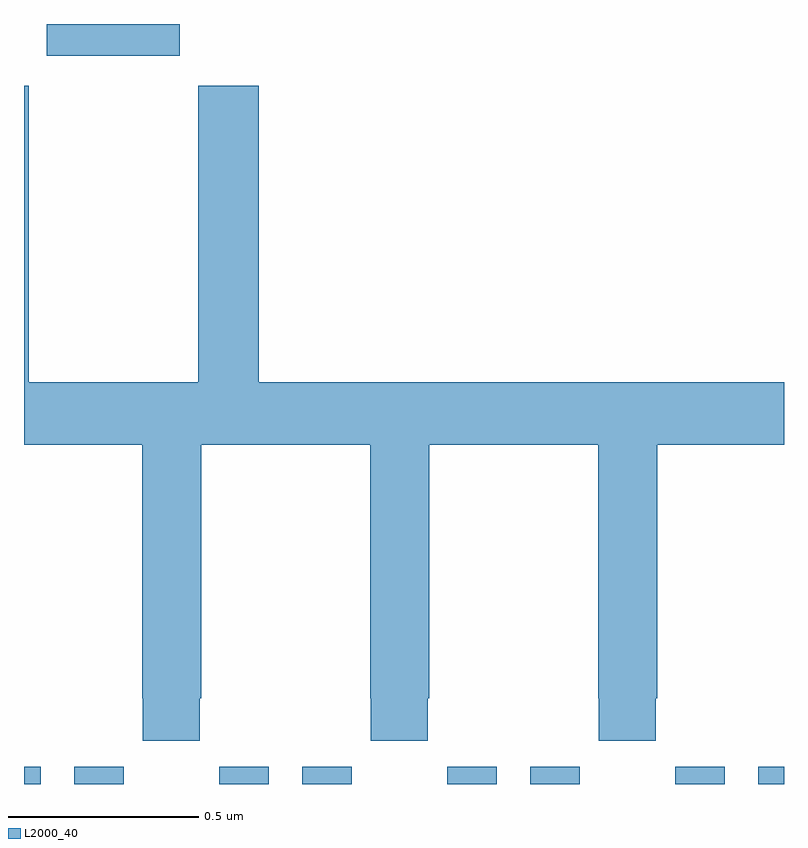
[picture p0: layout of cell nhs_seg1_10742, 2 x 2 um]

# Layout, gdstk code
import gdstk
lib = gdstk.Library(unit=1e-6, precision=1e-09)
def R(c, l, rs):  # rectangles x0, y0, x1, y1
    for r in rs: c.add(gdstk.rectangle(r[:2], r[2:], *l))
def P(c, l, *ps):  # polygons
    for p in ps: c.add(gdstk.Polygon(p, *l))
L2000_40 = (2000, 40)

nhs_seg1_10742 = lib.new_cell('nhs_seg1_10742')
R(nhs_seg1_10742, L2000_40, [(245,524.199,245.044,524.245), (245.132,524.199,245.262,524.245), (245.514,524.199,245.644,524.245), (245.732,524.199,245.862,524.245), (246.114,524.199,246.244,524.245), (246.332,524.199,246.462,524.245), (246.714,524.199,246.844,524.245), (246.932,524.199,247,524.245), (245.06,526.115,245.41,526.199)])
P(nhs_seg1_10742, L2000_40, [(245.463,524.425),(245.466,524.425),(245.466,525.092),(245.911,525.092),(245.911,524.425),(245.913,524.425),(245.913,524.313),(246.063,524.313),(246.063,524.425),(246.066,524.425),(246.066,525.092),(246.511,525.092),(246.511,524.425),(246.513,524.425),(246.513,524.313),(246.663,524.313),(246.663,524.425),(246.666,524.425),(246.666,525.092),(247,525.092),(247,525.256),(245.618,525.256),(245.618,526.036),(245.458,526.036),(245.458,525.256),(245.013,525.256),(245.013,526.036),(245,526.036),(245,525.092),(245.311,525.092),(245.311,524.425),(245.313,524.425),(245.313,524.313),(245.463,524.313)])

lib.write_gds('nhs_seg1_10742.gds')
